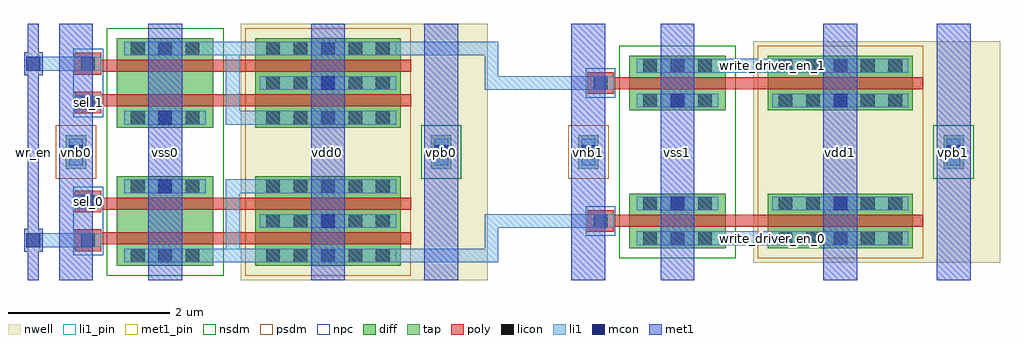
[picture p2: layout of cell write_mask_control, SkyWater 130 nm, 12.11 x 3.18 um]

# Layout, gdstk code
import gdstk
lib = gdstk.Library(unit=1e-6, precision=1e-09)
def R(c, l, rs):  # rectangles x0, y0, x1, y1
    for r in rs: c.add(gdstk.rectangle(r[:2], r[2:], *l))
def A(c, l, x, y, w, h, nx, ny, dx, dy):  # array of equal rectangles
    R(c, l, [(x+i*dx, y+j*dy, x+i*dx+w, y+j*dy+h) for i in range(nx) for j in range(ny)])
nwell = (64, 20)
diff = (65, 20)
tap = (65, 44)
poly = (66, 20)
licon = (66, 44)
li1_pin = (67, 16)
li1 = (67, 20)
mcon = (67, 44)
met1_pin = (68, 16)
met1 = (68, 20)
nsdm = (93, 44)
psdm = (94, 20)
npc = (95, 20)

ntap_1x1v = lib.new_cell('ntap_1x1v')
R(ntap_1x1v, tap, [(-0.04,-0.12,0.21,0.29)])
R(ntap_1x1v, licon, [(0,0,0.17,0.17)])
R(ntap_1x1v, li1, [(0,-0.08,0.17,0.25)])
R(ntap_1x1v, nsdm, [(-0.165,-0.245,0.335,0.415)])

ptap_1x1v = lib.new_cell('ptap_1x1v')
R(ptap_1x1v, tap, [(-0.04,-0.12,0.21,0.29)])
R(ptap_1x1v, licon, [(0,0,0.17,0.17)])
R(ptap_1x1v, li1, [(0,-0.08,0.17,0.25)])
R(ptap_1x1v, psdm, [(-0.165,-0.245,0.335,0.415)])

viali_1x1v = lib.new_cell('viali_1x1v')
R(viali_1x1v, li1, [(0,0,0.17,0.17)])
R(viali_1x1v, mcon, [(0,0,0.17,0.17)])
R(viali_1x1v, met1, [(-0.03,-0.06,0.2,0.23)])

viali_1x1h = lib.new_cell('viali_1x1h')
R(viali_1x1h, li1, [(0,0,0.17,0.17)])
R(viali_1x1h, mcon, [(0,0,0.17,0.17)])
R(viali_1x1h, met1, [(-0.06,-0.03,0.23,0.2)])

write_mask_control_and2_ = lib.new_cell('write_mask_control_and2_array_nand_array_route')
R(write_mask_control_and2_, met1, [(-0.715,-0.18,-0.295,3), (0.39,-0.18,0.81,3), (2.41,-0.18,2.83,3), (3.815,-0.18,4.235,3)])
write_mask_control_and2_.add(gdstk.Reference(viali_1x1v, (3.94,1.325)))
write_mask_control_and2_.add(gdstk.Reference(viali_1x1v, (-0.59,1.325)))
write_mask_control_and2_.add(gdstk.Reference(viali_1x1h, (2.535,0.47)))
write_mask_control_and2_.add(gdstk.Reference(viali_1x1h, (2.535,2.18)))
write_mask_control_and2_.add(gdstk.Reference(viali_1x1h, (0.515,0.9)))
write_mask_control_and2_.add(gdstk.Reference(viali_1x1h, (0.515,1.75)))

polyc_1x1h = lib.new_cell('polyc_1x1h')
R(polyc_1x1h, poly, [(-0.08,-0.05,0.25,0.22)])
R(polyc_1x1h, licon, [(0,0,0.17,0.17)])
R(polyc_1x1h, li1, [(-0.08,0,0.25,0.17)])
R(polyc_1x1h, npc, [(-0.1,-0.1,0.27,0.27)])

ndiffc_1x3h = lib.new_cell('ndiffc_1x3h')
R(ndiffc_1x3h, diff, [(-0.06,-0.04,0.91,0.21)])
A(ndiffc_1x3h, licon, 0, 0, 0.17, 0.17, 3, 1, 0.34, 0)
R(ndiffc_1x3h, li1, [(-0.08,0,0.93,0.17)])
R(ndiffc_1x3h, nsdm, [(-0.185,-0.165,1.035,0.335)])

pdiffc_1x5h = lib.new_cell('pdiffc_1x5h')
R(pdiffc_1x5h, nwell, [(-0.24,-0.22,1.77,0.39)])
R(pdiffc_1x5h, diff, [(-0.06,-0.04,1.59,0.21)])
A(pdiffc_1x5h, licon, 0, 0, 0.17, 0.17, 5, 1, 0.34, 0)
R(pdiffc_1x5h, li1, [(-0.08,0,1.61,0.17)])
R(pdiffc_1x5h, psdm, [(-0.185,-0.165,1.715,0.335)])

ptx__nmos_svt_1200_150_2 = lib.new_cell('ptx__nmos_svt_1200_150_2__pmos_svt_1800_150_2')
R(ptx__nmos_svt_1200_150_2, nwell, [(1.54,-0.18,3.7,1.29)])
R(ptx__nmos_svt_1200_150_2, diff, [(0,0,1.2,1.11), (1.72,0,3.52,1.11)])
R(ptx__nmos_svt_1200_150_2, poly, [(-0.19,0.265,3.65,0.415), (-0.19,0.695,3.65,0.845)])
R(ptx__nmos_svt_1200_150_2, nsdm, [(-0.125,-0.125,1.325,1.235)])
R(ptx__nmos_svt_1200_150_2, psdm, [(1.595,-0.125,3.645,1.235)])
R(ptx__nmos_svt_1200_150_2, npc, [(-0.54,0.13,-0.17,0.98)])
ptx__nmos_svt_1200_150_2.add(gdstk.Reference(polyc_1x1h, (-0.44,0.23)))
ptx__nmos_svt_1200_150_2.add(gdstk.Reference(polyc_1x1h, (-0.44,0.71)))
ptx__nmos_svt_1200_150_2.add(gdstk.Reference(ndiffc_1x3h, (0.175,0.04)))
ptx__nmos_svt_1200_150_2.add(gdstk.Reference(pdiffc_1x5h, (1.855,0.04)))
ptx__nmos_svt_1200_150_2.add(gdstk.Reference(pdiffc_1x5h, (1.855,0.47)))
ptx__nmos_svt_1200_150_2.add(gdstk.Reference(ndiffc_1x3h, (0.175,0.9)))
ptx__nmos_svt_1200_150_2.add(gdstk.Reference(pdiffc_1x5h, (1.855,0.9)))

write_mask_control_nand = lib.new_cell('write_mask_control_nand')
R(write_mask_control_nand, li1, [(1.355,0.04,1.525,1.07), (1.355,0.04,3.465,0.21), (0.095,0.9,3.465,1.07)])
write_mask_control_nand.add(gdstk.Reference(ptx__nmos_svt_1200_150_2, (0,0)))

c_write_mask_control_and2_ = lib.new_cell('write_mask_control_and2_array_nand_array_array')
c_write_mask_control_and2_.add(gdstk.Reference(write_mask_control_nand, (0,1.11), x_reflection=True))
c_write_mask_control_and2_.add(gdstk.Reference(write_mask_control_nand, (0,1.71)))

c_write_mask_control_and2__ = lib.new_cell('write_mask_control_and2_array_nand_array')
R(c_write_mask_control_and2__, nwell, [(1.54,-0.18,4.6,3)])
R(c_write_mask_control_and2__, met1_pin, [(-0.715,-0.18,-0.295,3), (0.39,-0.18,0.81,3), (2.41,-0.18,2.83,3), (3.815,-0.18,4.235,3)])
R(c_write_mask_control_and2__, nsdm, [(-0.125,-0.125,1.325,2.945)])
R(c_write_mask_control_and2__, psdm, [(1.595,-0.125,3.645,2.945)])
c_write_mask_control_and2__.add(gdstk.Reference(ntap_1x1v, (3.94,1.325)))
c_write_mask_control_and2__.add(gdstk.Reference(ptap_1x1v, (-0.59,1.325)))
c_write_mask_control_and2__.add(gdstk.Reference(write_mask_control_and2_, (0,0)))
c_write_mask_control_and2__.add(gdstk.Reference(c_write_mask_control_and2_, (0,0)))
c_write_mask_control_and2__.add(gdstk.Label('vpb', (4.025,1.41), layer=68, texttype=16))
c_write_mask_control_and2__.add(gdstk.Label('vnb', (-0.505,1.41), layer=68, texttype=16))
c_write_mask_control_and2__.add(gdstk.Label('vdd', (2.62,1.41), layer=68, texttype=16))
c_write_mask_control_and2__.add(gdstk.Label('vss', (0.6,1.41), layer=68, texttype=16))

c_write_mask_control_and2___ = lib.new_cell('write_mask_control_and2_array_inv_array_route')
R(c_write_mask_control_and2___, met1, [(-0.715,-0.18,-0.295,2.57), (0.39,-0.18,0.81,2.57), (2.41,-0.18,2.83,2.57), (3.815,-0.18,4.235,2.57)])
c_write_mask_control_and2___.add(gdstk.Reference(viali_1x1v, (3.94,1.11)))
c_write_mask_control_and2___.add(gdstk.Reference(viali_1x1v, (-0.59,1.11)))
c_write_mask_control_and2___.add(gdstk.Reference(viali_1x1h, (2.535,0.47)))
c_write_mask_control_and2___.add(gdstk.Reference(viali_1x1h, (2.535,1.75)))
c_write_mask_control_and2___.add(gdstk.Reference(viali_1x1h, (0.515,0.47)))
c_write_mask_control_and2___.add(gdstk.Reference(viali_1x1h, (0.515,1.75)))

ptx__nmos_svt_1200_150_1 = lib.new_cell('ptx__nmos_svt_1200_150_1__pmos_svt_1800_150_1')
R(ptx__nmos_svt_1200_150_1, nwell, [(1.54,-0.18,3.7,0.86)])
R(ptx__nmos_svt_1200_150_1, diff, [(0,0,1.2,0.68), (1.72,0,3.52,0.68)])
R(ptx__nmos_svt_1200_150_1, poly, [(-0.19,0.265,3.65,0.415)])
R(ptx__nmos_svt_1200_150_1, nsdm, [(-0.125,-0.125,1.325,0.805)])
R(ptx__nmos_svt_1200_150_1, psdm, [(1.595,-0.125,3.645,0.805)])
R(ptx__nmos_svt_1200_150_1, npc, [(-0.54,0.155,-0.17,0.525)])
ptx__nmos_svt_1200_150_1.add(gdstk.Reference(polyc_1x1h, (-0.44,0.255)))
ptx__nmos_svt_1200_150_1.add(gdstk.Reference(ndiffc_1x3h, (0.175,0.04)))
ptx__nmos_svt_1200_150_1.add(gdstk.Reference(pdiffc_1x5h, (1.855,0.04)))
ptx__nmos_svt_1200_150_1.add(gdstk.Reference(ndiffc_1x3h, (0.175,0.47)))
ptx__nmos_svt_1200_150_1.add(gdstk.Reference(pdiffc_1x5h, (1.855,0.47)))

write_mask_control_inv = lib.new_cell('write_mask_control_inv')
R(write_mask_control_inv, li1, [(0.095,0.47,3.465,0.64)])
write_mask_control_inv.add(gdstk.Reference(ptx__nmos_svt_1200_150_1, (0,0)))

c_write_mask_control_and2____ = lib.new_cell('write_mask_control_and2_array_inv_array_array')
c_write_mask_control_and2____.add(gdstk.Reference(write_mask_control_inv, (0,0.68), x_reflection=True))
c_write_mask_control_and2____.add(gdstk.Reference(write_mask_control_inv, (0,1.71)))

c_write_mask_control_and2_____ = lib.new_cell('write_mask_control_and2_array_inv_array')
R(c_write_mask_control_and2_____, nwell, [(1.54,-0.18,4.6,2.57)])
R(c_write_mask_control_and2_____, met1_pin, [(-0.715,-0.18,-0.295,2.57), (0.39,-0.18,0.81,2.57), (2.41,-0.18,2.83,2.57), (3.815,-0.18,4.235,2.57)])
R(c_write_mask_control_and2_____, nsdm, [(-0.125,-0.125,1.325,2.515)])
R(c_write_mask_control_and2_____, psdm, [(1.595,-0.125,3.645,2.515)])
c_write_mask_control_and2_____.add(gdstk.Reference(ntap_1x1v, (3.94,1.11)))
c_write_mask_control_and2_____.add(gdstk.Reference(ptap_1x1v, (-0.59,1.11)))
c_write_mask_control_and2_____.add(gdstk.Reference(c_write_mask_control_and2___, (0,0)))
c_write_mask_control_and2_____.add(gdstk.Reference(c_write_mask_control_and2____, (0,0)))
c_write_mask_control_and2_____.add(gdstk.Label('vpb', (4.025,1.195), layer=68, texttype=16))
c_write_mask_control_and2_____.add(gdstk.Label('vnb', (-0.505,1.195), layer=68, texttype=16))
c_write_mask_control_and2_____.add(gdstk.Label('vdd', (2.62,1.195), layer=68, texttype=16))
c_write_mask_control_and2_____.add(gdstk.Label('vss', (0.6,1.195), layer=68, texttype=16))

c_write_mask_control_and2______ = lib.new_cell('write_mask_control_and2_array_route')
R(c_write_mask_control_and2______, li1, [(0.095,0.04,3.465,0.21), (3.465,0.04,4.565,0.21), (4.565,0.04,4.735,0.64), (4.735,0.47,5.835,0.64), (4.565,2.18,4.735,2.78), (4.735,2.18,5.835,2.35), (0.095,2.61,3.465,2.78), (3.465,2.61,4.565,2.78)])

c_write_mask_control_and2_______ = lib.new_cell('write_mask_control_and2_array')
R(c_write_mask_control_and2_______, li1_pin, [(0.095,0.04,3.465,0.21), (-0.52,0.23,-0.19,0.4), (6.45,0.255,9.82,0.425), (-0.52,0.71,-0.19,0.88), (-0.52,1.94,-0.19,2.11), (6.45,2.395,9.82,2.565), (-0.52,2.42,-0.19,2.59), (0.095,2.61,3.465,2.78)])
R(c_write_mask_control_and2_______, met1_pin, [(-0.715,-0.18,-0.295,3), (0.39,-0.18,0.81,3), (2.41,-0.18,2.83,3), (3.815,-0.18,4.235,3), (5.64,0.035,6.06,2.785), (6.745,0.035,7.165,2.785), (8.765,0.035,9.185,2.785), (10.17,0.035,10.59,2.785)])
c_write_mask_control_and2_______.add(gdstk.Reference(c_write_mask_control_and2__, (0,0)))
c_write_mask_control_and2_______.add(gdstk.Reference(c_write_mask_control_and2_____, (6.355,0.215)))
c_write_mask_control_and2_______.add(gdstk.Reference(c_write_mask_control_and2______, (0,0)))
c_write_mask_control_and2_______.add(gdstk.Label('a_0', (-0.355,0.795), layer=67, texttype=16))
c_write_mask_control_and2_______.add(gdstk.Label('b_0', (-0.355,0.315), layer=67, texttype=16))
c_write_mask_control_and2_______.add(gdstk.Label('y_b_0', (1.78,0.125), layer=67, texttype=16))
c_write_mask_control_and2_______.add(gdstk.Label('y_0', (8.135,0.34), layer=67, texttype=16))
c_write_mask_control_and2_______.add(gdstk.Label('a_1', (-0.355,2.025), layer=67, texttype=16))
c_write_mask_control_and2_______.add(gdstk.Label('b_1', (-0.355,2.505), layer=67, texttype=16))
c_write_mask_control_and2_______.add(gdstk.Label('y_b_1', (1.78,2.695), layer=67, texttype=16))
c_write_mask_control_and2_______.add(gdstk.Label('y_1', (8.135,2.48), layer=67, texttype=16))
c_write_mask_control_and2_______.add(gdstk.Label('vdd0', (2.62,1.41), layer=68, texttype=16))
c_write_mask_control_and2_______.add(gdstk.Label('vss0', (0.6,1.41), layer=68, texttype=16))
c_write_mask_control_and2_______.add(gdstk.Label('vnb0', (-0.505,1.41), layer=68, texttype=16))
c_write_mask_control_and2_______.add(gdstk.Label('vpb0', (4.025,1.41), layer=68, texttype=16))
c_write_mask_control_and2_______.add(gdstk.Label('vdd1', (8.975,1.41), layer=68, texttype=16))
c_write_mask_control_and2_______.add(gdstk.Label('vss1', (6.955,1.41), layer=68, texttype=16))
c_write_mask_control_and2_______.add(gdstk.Label('vnb1', (5.85,1.41), layer=68, texttype=16))
c_write_mask_control_and2_______.add(gdstk.Label('vpb1', (10.38,1.41), layer=68, texttype=16))

write_mask_control_route = lib.new_cell('write_mask_control_route')
R(write_mask_control_route, li1, [(-1.105,0.23,-0.35,0.4), (-0.52,0.23,-0.19,0.4), (-1.105,2.42,-0.35,2.59), (-0.52,2.42,-0.19,2.59)])
write_mask_control_route.add(gdstk.Reference(viali_1x1v, (-1.12,0.23)))
write_mask_control_route.add(gdstk.Reference(viali_1x1v, (-1.12,2.42)))

write_mask_control = lib.new_cell('write_mask_control')
R(write_mask_control, li1_pin, [(6.45,0.255,9.82,0.425), (-0.52,0.71,-0.19,0.88), (-0.52,1.94,-0.19,2.11), (6.45,2.395,9.82,2.565)])
R(write_mask_control, met1_pin, [(-1.105,-0.18,-0.965,3), (-0.715,-0.18,-0.295,3), (0.39,-0.18,0.81,3), (2.41,-0.18,2.83,3), (3.815,-0.18,4.235,3), (5.64,-0.18,6.06,3), (6.745,-0.18,7.165,3), (8.765,-0.18,9.185,3), (10.17,-0.18,10.59,3)])
R(write_mask_control, met1, [(-1.105,-0.18,-0.965,3), (-0.715,-0.18,-0.295,3), (0.39,-0.18,0.81,3), (2.41,-0.18,2.83,3), (3.815,-0.18,4.235,3), (5.64,-0.18,6.06,3), (6.745,-0.18,7.165,3), (8.765,-0.18,9.185,3), (10.17,-0.18,10.59,3)])
write_mask_control.add(gdstk.Reference(c_write_mask_control_and2_______, (0,0)))
write_mask_control.add(gdstk.Reference(write_mask_control_route, (0,0)))
write_mask_control.add(gdstk.Label('vnb0', (-0.505,1.41), layer=68, texttype=16))
write_mask_control.add(gdstk.Label('vss0', (0.6,1.41), layer=68, texttype=16))
write_mask_control.add(gdstk.Label('vdd0', (2.62,1.41), layer=68, texttype=16))
write_mask_control.add(gdstk.Label('vpb0', (4.025,1.41), layer=68, texttype=16))
write_mask_control.add(gdstk.Label('vnb1', (5.85,1.41), layer=68, texttype=16))
write_mask_control.add(gdstk.Label('vss1', (6.955,1.41), layer=68, texttype=16))
write_mask_control.add(gdstk.Label('vdd1', (8.975,1.41), layer=68, texttype=16))
write_mask_control.add(gdstk.Label('vpb1', (10.38,1.41), layer=68, texttype=16))
write_mask_control.add(gdstk.Label('sel_0', (-0.355,0.795), layer=67, texttype=16))
write_mask_control.add(gdstk.Label('write_driver_en_0', (8.135,0.34), layer=67, texttype=16))
write_mask_control.add(gdstk.Label('sel_1', (-0.355,2.025), layer=67, texttype=16))
write_mask_control.add(gdstk.Label('write_driver_en_1', (8.135,2.48), layer=67, texttype=16))
write_mask_control.add(gdstk.Label('wr_en', (-1.035,1.41), layer=68, texttype=16))

lib.write_gds('write_mask_control.gds')
